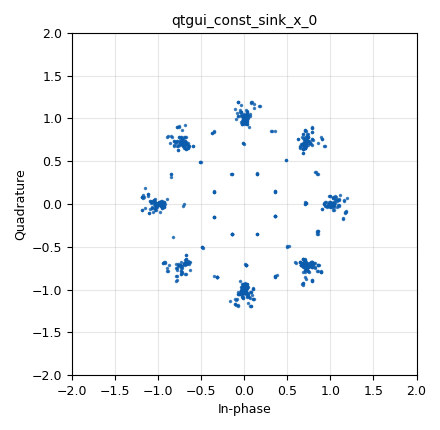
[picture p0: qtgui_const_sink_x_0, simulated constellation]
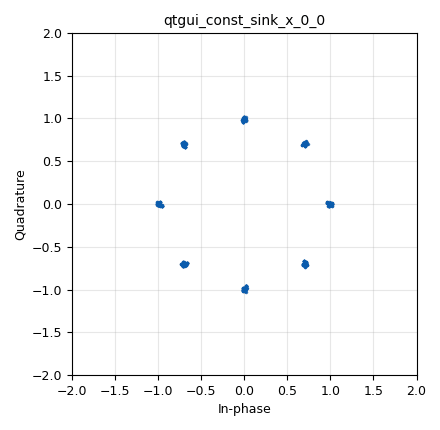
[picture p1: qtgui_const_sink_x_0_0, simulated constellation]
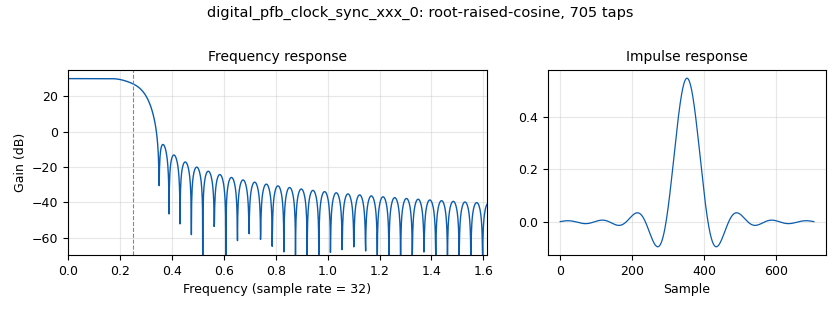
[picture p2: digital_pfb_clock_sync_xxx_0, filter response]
options:
  parameters:
    author: Studente
    generate_options: qt_gui
    id: parta
    output_language: python
    title: Not titled yet
  states: {}

blocks:
- name: amp
  id: variable_qtgui_range
  parameters:
    start: '0'
    step: '0.01'
    stop: '1'
    value: '0'
  states: {}
- name: nfilts
  id: variable
  parameters:
    value: '32'
  states: {}
- name: rcc_taps
  id: variable
  parameters:
    value: firdes.root_raised_cosine(nfilts, nfilts, 1.0/float(sps), 0.35, 11*sps*nfilts)
  states: {}
- name: samp_rate
  id: variable
  parameters:
    value: '32000'
  states: {}
- name: sps
  id: variable
  parameters:
    value: '2'
  states: {}
- name: analog_noise_source_x_0
  id: analog_noise_source_x
  parameters:
    amp: amp
    noise_type: analog.GR_GAUSSIAN
    seed: '0'
    type: complex
  states: {}
- name: analog_random_source_x_0
  id: analog_random_source_x
  parameters:
    max: '2'
    min: '0'
    num_samps: '100000'
    repeat: 'True'
    type: byte
  states: {}
- name: blocks_add_xx_0
  id: blocks_add_xx
  parameters:
    type: complex
  states: {}
- name: blocks_multiply_const_vxx_0
  id: blocks_multiply_const_vxx
  parameters:
    const: '1'
    type: complex
  states: {}
- name: blocks_throttle2_0
  id: blocks_throttle2
  parameters:
    samples_per_second: samp_rate
    type: byte
  states: {}
- name: digital_pfb_clock_sync_xxx_0
  id: digital_pfb_clock_sync_xxx
  parameters:
    filter_size: '32'
    init_phase: '16'
    loop_bw: '0.001'
    max_dev: '1.5'
    osps: '1'
    sps: '2'
    taps: rcc_taps
    type: ccf
  states: {}
- name: digital_psk_mod_0
  id: digital_psk_mod
  parameters:
    constellation_points: '8'
    differential: 'True'
    excess_bw: '0.35'
    mod_code: '"gray"'
    samples_per_symbol: '2'
  states: {}
- name: qtgui_const_sink_x_0
  id: qtgui_const_sink_x
  parameters:
    size: '1024'
    type: complex
  states: {}
- name: qtgui_const_sink_x_0_0
  id: qtgui_const_sink_x
  parameters:
    size: '1024'
    type: complex
  states: {}

connections:
- [analog_noise_source_x_0, '0', blocks_add_xx_0, '1']
- [analog_random_source_x_0, '0', blocks_throttle2_0, '0']
- [blocks_add_xx_0, '0', digital_pfb_clock_sync_xxx_0, '0']
- [blocks_add_xx_0, '0', qtgui_const_sink_x_0, '0']
- [blocks_multiply_const_vxx_0, '0', blocks_add_xx_0, '0']
- [blocks_throttle2_0, '0', digital_psk_mod_0, '0']
- [digital_pfb_clock_sync_xxx_0, '0', qtgui_const_sink_x_0_0, '0']
- [digital_psk_mod_0, '0', blocks_multiply_const_vxx_0, '0']

metadata:
  file_format: 1
  grc_version: 3.10.7.0
